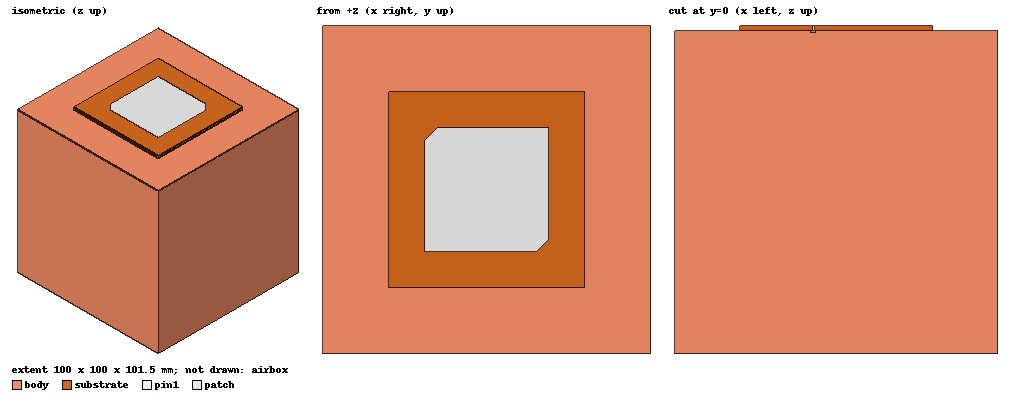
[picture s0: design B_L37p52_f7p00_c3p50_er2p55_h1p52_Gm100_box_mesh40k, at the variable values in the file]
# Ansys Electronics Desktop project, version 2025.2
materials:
  vacuum: permittivity=1
  substrate_design: permittivity=2.55 permeability=1 dielectric_loss_tangent=0.0018
  copper: permeability=0.999991 conductivity=58000000
  pec: conductivity=1e+30

design B_L37p52_f7p00_c3p50_er2p55_h1p52_Gm100_box_mesh40k (HFSS, HFSS Modal Network, model units mm)
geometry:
  substrate [substrate_design] = box(corner=(-30mm, -30mm, 0mm), size=(60mm, 60mm, 1.524mm))
  body [copper] = box(corner=(-50mm, -50mm, -100mm), size=(100mm, 100mm, 100mm))
  pocket1 = cylinder(axis=Z, base_centre=(7mm, 0mm, -0.5mm), radius=0.8mm, height=0.5mm)
  body.subtract(pocket1)
  patch = polyline(z=1.524mm, xy in mm: (-15.26, 18.76) (18.76, 18.76) (18.76, -15.26) (15.26, -18.76) (-18.76, -18.76) (-18.76, 15.26) (-15.26, 18.76), closed, covered)
  pin1 [pec] = cylinder(axis=Z, base_centre=(7mm, 0mm, 0mm), radius=0.25mm, height=1.524mm)
  pin1_1 = pin1.copy()
  substrate.subtract(pin1_1)
  port1 = circle(normal=Z, centre=(7mm, 0mm, 0mm), radius=0.8mm)
  inner1 = circle(normal=Z, centre=(7mm, 0mm, 0mm), radius=0.25mm)
  port1.subtract(inner1)
  airbox [vacuum] = box(corner=(-80.906439mm, -80.906439mm, -130.90644mm), size=(161.81288mm, 161.81288mm, 163.33688mm))
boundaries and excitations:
  Cu_sheets: Finite Conductivity Objects=patch UseMaterial Material=copper Roughness=0mm IsInternal
  Rad__409IIA: Radiation Objects=airbox
  P1: Lumped Port Objects=port1 LumpedPortType=Modal Modes{Mode1{IntLine{(7.25, 0, 0) -> (7.8, 0, 0)} CharImp=Zpi RenormImp=50ohm}} Impedance=50ohm
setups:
  Setup1: HfssDriven Frequency=2.425GHz MaxDeltaS=1e-05 MaximumPasses=17 MinimumPasses=1 MinimumConvergedPasses=2 PercentRefinement=30 BasisOrder=1 PortAccuracy=2 DrivenSolverType="Direct Solver"
    sweep S: 2.2GHz to 2.65GHz, 901 points; Type=Interpolating InterpTolerance=0.5 InterpMaxSolns=250 InterpUsePortImped=false PassivityErrorTolerance=0.0001
    sweep FF: 2.395GHz to 2.455GHz step 0.0025GHz; Type=Discrete SaveFields
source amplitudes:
  P1:1: 1W 0deg
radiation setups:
  ff: Infinite Sphere Theta=-180deg..180deg step 2deg Phi=0deg..90deg step 90deg
